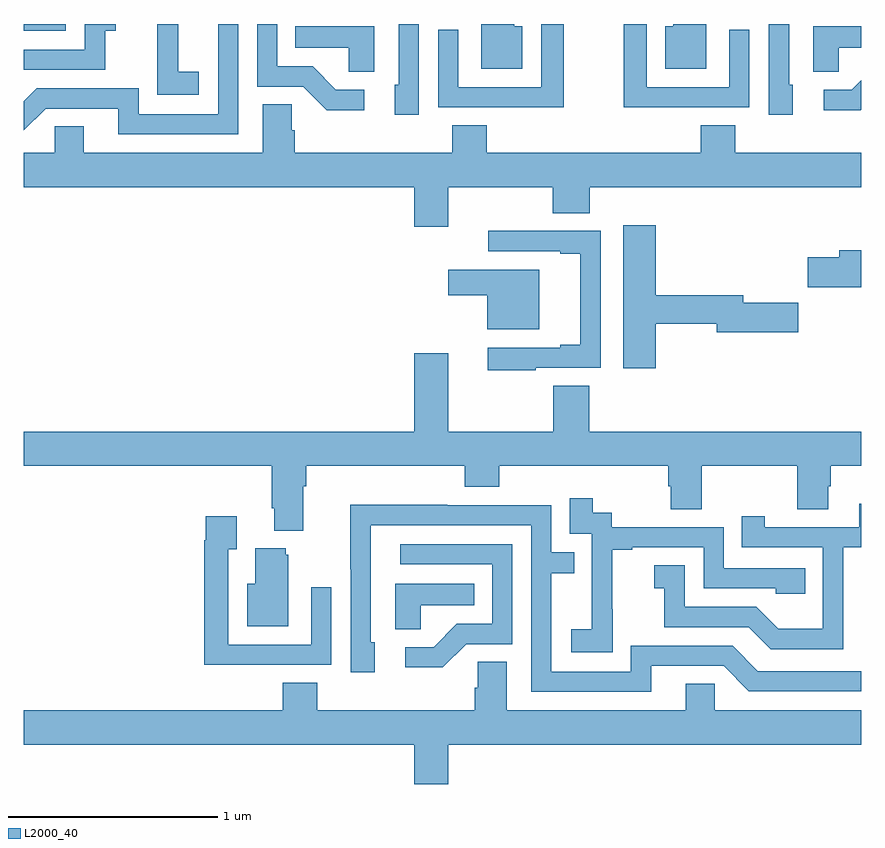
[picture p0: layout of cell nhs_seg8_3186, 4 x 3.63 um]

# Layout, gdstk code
import gdstk
lib = gdstk.Library(unit=1e-6, precision=1e-09)
def R(c, l, rs):  # rectangles x0, y0, x1, y1
    for r in rs: c.add(gdstk.rectangle(r[:2], r[2:], *l))
def P(c, l, *ps):  # polygons
    for p in ps: c.add(gdstk.Polygon(p, *l))
L2000_40 = (2000, 40)

nhs_seg8_3186 = lib.new_cell('nhs_seg8_3186')
R(nhs_seg8_3186, L2000_40, [(307,1163.868,307.2,1163.9)])
P(nhs_seg8_3186, L2000_40, [(310.675,1163.61),(310.656,1163.61),(310.656,1163.9),(310.56,1163.9),(310.56,1163.466),(310.675,1163.466)],
  [(309.382,1163.89),(309.343,1163.89),(309.343,1163.9),(309.185,1163.9),(309.185,1163.687),(309.382,1163.687)],
  [(308.886,1163.9),(308.79,1163.9),(308.79,1163.61),(308.771,1163.61),(308.771,1163.466),(308.886,1163.466)],
  [(307.834,1163.671),(307.736,1163.671),(307.736,1163.9),(307.637,1163.9),(307.637,1163.767),(307.636,1163.767),(307.636,1163.561),(307.834,1163.561)],
  [(309.58,1163.9),(309.471,1163.9),(309.471,1163.598),(309.075,1163.598),(309.075,1163.872),(308.979,1163.872),(308.979,1163.502),(309.295,1163.502),(309.295,1163.501),(309.58,1163.501)],
  [(308.025,1163.9),(307.929,1163.9),(307.929,1163.469),(307.548,1163.469),(307.548,1163.592),(307.062,1163.592),(307,1163.53),(307,1163.392),(307.104,1163.496),(307.451,1163.496),(307.451,1163.373),(308.025,1163.373)],
  [(310.261,1163.9),(310.103,1163.9),(310.103,1163.89),(310.064,1163.89),(310.064,1163.687),(310.261,1163.687)],
  [(307.389,1163.867),(307.438,1163.867),(307.438,1163.9),(307.29,1163.9),(307.29,1163.778),(307,1163.778),(307,1163.682),(307.389,1163.682)],
  [(308.626,1163.586),(308.491,1163.586),(308.38,1163.697),(308.211,1163.697),(308.211,1163.9),(308.115,1163.9),(308.115,1163.601),(308.334,1163.601),(308.447,1163.489),(308.626,1163.489)],
  [(310.151,1163.502),(310.467,1163.502),(310.467,1163.872),(310.371,1163.872),(310.371,1163.598),(309.975,1163.598),(309.975,1163.9),(309.867,1163.9),(309.867,1163.501),(310.151,1163.501)],
  [(310.893,1163.786),(311,1163.786),(311,1163.89),(310.772,1163.89),(310.772,1163.671),(310.893,1163.671)],
  [(308.674,1163.89),(308.296,1163.89),(308.296,1163.786),(308.553,1163.786),(308.553,1163.671),(308.674,1163.671)],
  [(311,1163.49),(311,1163.631),(310.955,1163.586),(310.821,1163.586),(310.821,1163.489),(310.999,1163.489)],
  [(308.141,1163.516),(308.141,1163.284),(307.285,1163.284),(307.285,1163.411),(307.146,1163.411),(307.146,1163.284),(307,1163.284),(307,1163.12),(308.864,1163.12),(308.864,1162.932),(309.028,1162.932),(309.028,1163.12),(309.527,1163.12),(309.527,1162.996),(309.704,1162.996),(309.704,1163.12),(311,1163.12),(311,1163.284),(310.4,1163.284),(310.4,1163.417),(310.235,1163.417),(310.235,1163.284),(309.212,1163.284),(309.212,1163.417),(309.047,1163.417),(309.047,1163.284),(308.294,1163.284),(308.294,1163.393),(308.28,1163.393),(308.28,1163.516)],
  [(310.019,1162.468),(310.31,1162.468),(310.31,1162.426),(310.699,1162.426),(310.699,1162.568),(310.438,1162.568),(310.438,1162.604),(310.019,1162.604),(310.019,1162.939),(309.863,1162.939),(309.863,1162.254),(310.019,1162.254)],
  [(309.446,1162.257),(309.756,1162.257),(309.756,1162.911),(309.443,1162.911),(309.443,1162.913),(309.219,1162.913),(309.219,1162.815),(309.563,1162.815),(309.563,1162.803),(309.659,1162.803),(309.659,1162.366),(309.563,1162.366),(309.563,1162.353),(309.216,1162.353),(309.216,1162.245),(309.446,1162.245)],
  [(311,1162.819),(310.895,1162.819),(310.895,1162.785),(310.746,1162.785),(310.746,1162.643),(311,1162.643)],
  [(309.463,1162.726),(309.027,1162.726),(309.027,1162.604),(309.215,1162.604),(309.215,1162.442),(309.463,1162.442)],
  [(308.335,1161.692),(308.348,1161.692),(308.348,1161.788),(309.107,1161.788),(309.107,1161.689),(309.272,1161.689),(309.272,1161.788),(310.079,1161.788),(310.079,1161.69),(310.091,1161.69),(310.091,1161.58),(310.239,1161.58),(310.239,1161.788),(310.696,1161.788),(310.696,1161.58),(310.843,1161.58),(310.843,1161.69),(310.856,1161.69),(310.856,1161.788),(311,1161.788),(311,1161.952),(309.701,1161.952),(309.701,1162.172),(309.53,1162.172),(309.53,1161.952),(309.028,1161.952),(309.028,1162.327),(308.864,1162.327),(308.864,1161.952),(307,1161.952),(307,1161.788),(308.183,1161.788),(308.183,1161.586),(308.195,1161.586),(308.195,1161.479),(308.335,1161.479)],
  [(309.813,1161.103),(309.812,1161.103),(309.812,1161.387),(309.907,1161.387),(309.907,1161.399),(310.248,1161.399),(310.248,1161.204),(310.593,1161.204),(310.593,1161.177),(310.733,1161.177),(310.733,1161.3),(310.344,1161.3),(310.344,1161.495),(309.81,1161.495),(309.81,1161.564),(309.718,1161.564),(309.718,1161.634),(309.609,1161.634),(309.609,1161.465),(309.714,1161.465),(309.714,1161.236),(309.713,1161.236),(309.713,1161.007),(309.615,1161.007),(309.615,1160.897),(309.813,1160.897)],
  [(310.914,1161.399),(311,1161.399),(311,1161.607),(310.991,1161.607),(310.991,1161.495),(310.54,1161.495),(310.54,1161.547),(310.429,1161.547),(310.429,1161.399),(310.818,1161.399),(310.818,1161.01),(310.604,1161.01),(310.5,1161.114),(310.158,1161.114),(310.158,1161.313),(310.011,1161.313),(310.011,1161.203),(310.06,1161.203),(310.06,1161.018),(310.463,1161.018),(310.568,1160.913),(310.914,1160.913)],
  [(309.997,1160.832),(310.344,1160.832),(310.464,1160.712),(311,1160.712),(311,1160.808),(310.506,1160.808),(310.386,1160.928),(309.9,1160.928),(309.9,1160.805),(309.519,1160.805),(309.519,1161.274),(309.629,1161.274),(309.629,1161.375),(309.519,1161.375),(309.519,1161.6),(309.023,1161.6),(309.023,1161.602),(308.56,1161.602),(308.56,1161.295),(308.562,1161.295),(308.562,1160.802),(308.677,1160.802),(308.677,1160.946),(308.658,1160.946),(308.658,1161.504),(309.423,1161.504),(309.423,1160.709),(309.997,1160.709)],
  [(308.153,1160.838),(308.469,1160.838),(308.469,1161.208),(308.373,1161.208),(308.373,1160.934),(307.977,1160.934),(307.977,1161.391),(308.017,1161.391),(308.017,1161.547),(307.869,1161.547),(307.869,1161.434),(307.861,1161.434),(307.861,1160.837),(308.153,1160.837)],
  [(309.114,1160.937),(309.333,1160.937),(309.333,1161.414),(308.799,1161.414),(308.799,1161.318),(309.237,1161.318),(309.237,1161.033),(309.068,1161.033),(308.957,1160.922),(308.823,1160.922),(308.823,1160.825),(309.001,1160.825)],
  [(308.263,1161.363),(308.252,1161.363),(308.252,1161.394),(308.105,1161.394),(308.105,1161.226),(308.066,1161.226),(308.066,1161.023),(308.263,1161.023)],
  [(308.895,1161.122),(309.152,1161.122),(309.152,1161.226),(308.774,1161.226),(308.774,1161.007),(308.895,1161.007)],
  [(309.028,1160.456),(311,1160.456),(311,1160.62),(310.302,1160.62),(310.302,1160.747),(310.163,1160.747),(310.163,1160.62),(309.307,1160.62),(309.307,1160.852),(309.168,1160.852),(309.168,1160.729),(309.155,1160.729),(309.155,1160.62),(308.402,1160.62),(308.402,1160.753),(308.237,1160.753),(308.237,1160.62),(307,1160.62),(307,1160.456),(308.864,1160.456),(308.864,1160.268),(309.028,1160.268)])

lib.write_gds('nhs_seg8_3186.gds')
